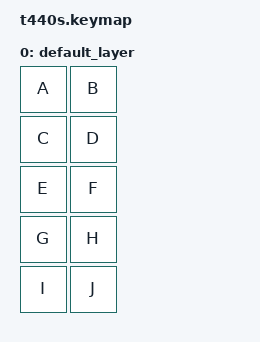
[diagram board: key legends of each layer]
/ {
    keymap {
        compatible = "zmk,keymap";

        default_layer {
            bindings = <
                &kp A &kp B
                &kp C &kp D
                &kp E &kp F
                &kp G &kp H
                &kp I &kp J
            >;
        };
    };
};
